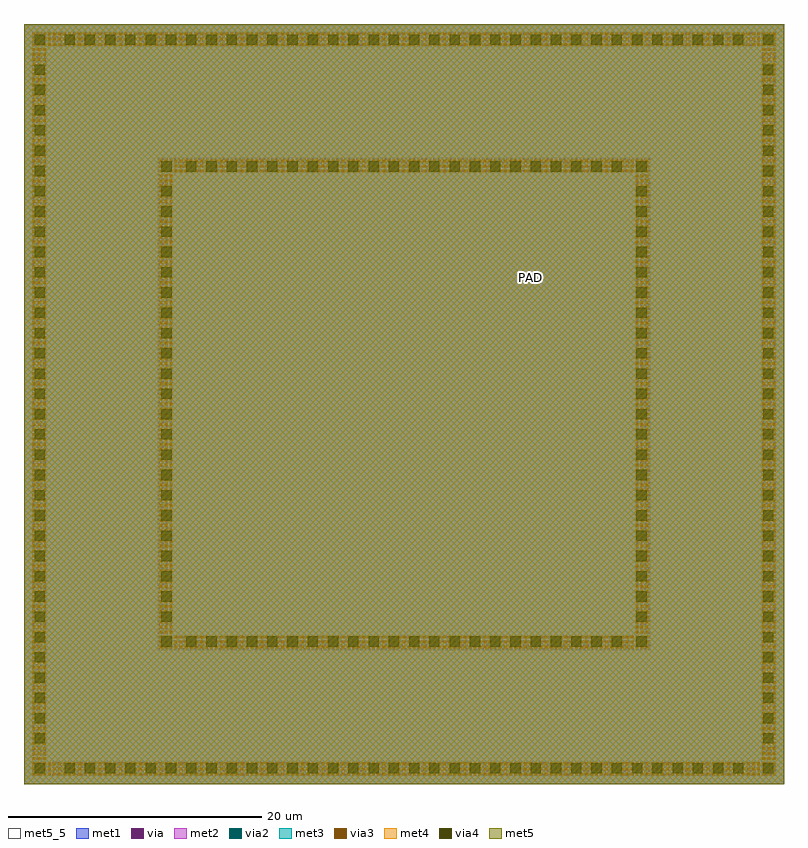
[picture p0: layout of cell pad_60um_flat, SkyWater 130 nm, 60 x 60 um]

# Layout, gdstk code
import gdstk
lib = gdstk.Library(unit=1e-6, precision=1e-09)
def R(c, l, rs):  # rectangles x0, y0, x1, y1
    for r in rs: c.add(gdstk.rectangle(r[:2], r[2:], *l))
def A(c, l, x, y, w, h, nx, ny, dx, dy):  # array of equal rectangles
    R(c, l, [(x+i*dx, y+j*dy, x+i*dx+w, y+j*dy+h) for i in range(nx) for j in range(ny)])
met1 = (68, 20)
via = (68, 44)
met2 = (69, 20)
via2 = (69, 44)
met3 = (70, 20)
via3 = (70, 44)
met4 = (71, 20)
via4 = (71, 44)
met5_5 = (72, 5)
met5 = (72, 20)

pad_60um_flat = lib.new_cell('pad_60um_flat')
R(pad_60um_flat, met1, [(-30,-30,30,30)])
A(pad_60um_flat, via, -29.355, -29.355, 0.15, 0.15, 184, 4, 0.32, 0.32)
A(pad_60um_flat, via, -29.355, -28.075, 0.15, 0.15, 4, 176, 0.32, 0.32)
A(pad_60um_flat, via, 28.245, -28.075, 0.15, 0.15, 4, 176, 0.32, 0.32)
A(pad_60um_flat, via, -19.435, -19.435, 0.15, 0.15, 122, 4, 0.32, 0.32)
A(pad_60um_flat, via, -19.435, -18.155, 0.15, 0.15, 4, 114, 0.32, 0.32)
A(pad_60um_flat, via, 18.325, -18.155, 0.15, 0.15, 4, 114, 0.32, 0.32)
A(pad_60um_flat, via, -19.435, 18.325, 0.15, 0.15, 122, 4, 0.32, 0.32)
A(pad_60um_flat, via, -29.355, 28.245, 0.15, 0.15, 184, 4, 0.32, 0.32)
R(pad_60um_flat, met2, [(-30,-30,30,30)])
A(pad_60um_flat, via2, -29.3, -29.3, 0.2, 0.2, 147, 3, 0.4, 0.4)
A(pad_60um_flat, via2, -29.3, -28.1, 0.2, 0.2, 3, 141, 0.4, 0.4)
A(pad_60um_flat, via2, 28.3, -28.1, 0.2, 0.2, 3, 141, 0.4, 0.4)
A(pad_60um_flat, via2, -19.3, -19.3, 0.2, 0.2, 97, 3, 0.4, 0.4)
A(pad_60um_flat, via2, -19.3, -18.1, 0.2, 0.2, 3, 91, 0.4, 0.4)
A(pad_60um_flat, via2, 18.3, -18.1, 0.2, 0.2, 3, 91, 0.4, 0.4)
A(pad_60um_flat, via2, -19.3, 18.3, 0.2, 0.2, 97, 3, 0.4, 0.4)
A(pad_60um_flat, via2, -29.3, 28.3, 0.2, 0.2, 147, 3, 0.4, 0.4)
R(pad_60um_flat, met3, [(-30,-30,30,30)])
A(pad_60um_flat, via3, -29.3, -29.3, 0.2, 0.2, 147, 3, 0.4, 0.4)
A(pad_60um_flat, via3, -29.3, -28.1, 0.2, 0.2, 3, 141, 0.4, 0.4)
A(pad_60um_flat, via3, 28.3, -28.1, 0.2, 0.2, 3, 141, 0.4, 0.4)
A(pad_60um_flat, via3, -19.3, -19.3, 0.2, 0.2, 97, 3, 0.4, 0.4)
A(pad_60um_flat, via3, -19.3, -18.1, 0.2, 0.2, 3, 91, 0.4, 0.4)
A(pad_60um_flat, via3, 18.3, -18.1, 0.2, 0.2, 3, 91, 0.4, 0.4)
A(pad_60um_flat, via3, -19.3, 18.3, 0.2, 0.2, 97, 3, 0.4, 0.4)
A(pad_60um_flat, via3, -29.3, 28.3, 0.2, 0.2, 147, 3, 0.4, 0.4)
R(pad_60um_flat, met4, [(-30,-30,30,30)])
A(pad_60um_flat, via4, -26.8, -29.15, 0.8, 0.8, 34, 2, 1.6, 57.5)
A(pad_60um_flat, via4, -29.15, -26.8, 0.8, 0.8, 1, 34, 0, 1.6)
A(pad_60um_flat, via4, 28.35, -26.8, 0.8, 0.8, 1, 34, 0, 1.6)
A(pad_60um_flat, via4, -17.2, -19.15, 0.8, 0.8, 22, 2, 1.6, 37.5)
A(pad_60um_flat, via4, -19.15, -17.2, 0.8, 0.8, 1, 22, 0, 1.6)
A(pad_60um_flat, via4, 18.35, -17.2, 0.8, 0.8, 1, 22, 0, 1.6)
R(pad_60um_flat, via4, [(-29.15,-29.15,-28.35,-28.35), (28.35,-29.15,29.15,-28.35), (-19.15,-19.15,-18.35,-18.35), (18.35,-19.15,19.15,-18.35), (-19.15,18.35,-18.35,19.15), (18.35,18.35,19.15,19.15), (-29.15,28.35,-28.35,29.15), (28.35,28.35,29.15,29.15)])
R(pad_60um_flat, met5_5, [(-30,-30,30,30)])
R(pad_60um_flat, met5, [(-30,-30,30,30)])
pad_60um_flat.add(gdstk.Label('PAD', (10,10), layer=72, texttype=5))

lib.write_gds('pad_60um_flat.gds')
